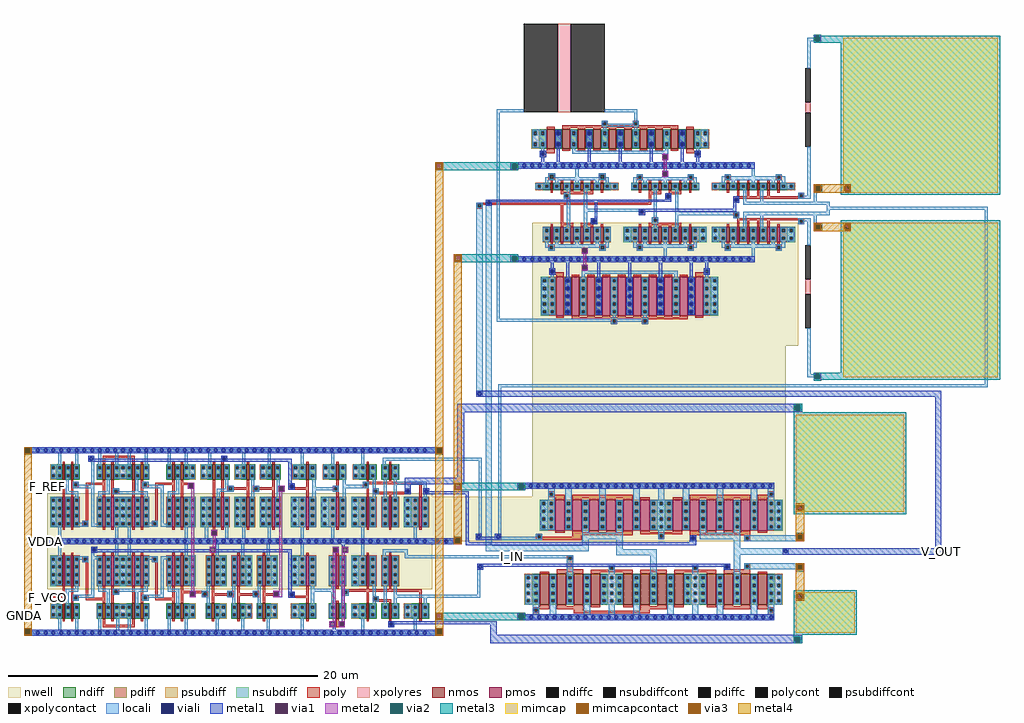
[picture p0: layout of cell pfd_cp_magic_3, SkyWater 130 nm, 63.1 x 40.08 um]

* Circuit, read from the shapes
.subckt pfd_cp_magic_3 V_OUT VDDA GNDA F_REF F_VCO I_IN
XM1 pfd_8_0/QB_b F_VCO GNDA GNDA sky130_fd_pr__nfet_01v8 w=1 l=0.15
XM2 pfd_8_0/QA_b F_REF GNDA GNDA sky130_fd_pr__nfet_01v8 w=1 l=0.15
XM3 GNDA pfd_8_0/QB pfd_8_0/QB_b GNDA sky130_fd_pr__nfet_01v8 w=1 l=0.15
XM4 GNDA pfd_8_0/QA pfd_8_0/QA_b GNDA sky130_fd_pr__nfet_01v8 w=1 l=0.15
XM5 pfd_8_0/QB pfd_8_0/QB_b GNDA GNDA sky130_fd_pr__nfet_01v8 w=1 l=0.15
XM6 pfd_8_0/QA pfd_8_0/QA_b GNDA GNDA sky130_fd_pr__nfet_01v8 w=1 l=0.15
XM7 GNDA pfd_8_0/F pfd_8_0/QB GNDA sky130_fd_pr__nfet_01v8 w=1 l=0.15
XM8 GNDA pfd_8_0/E pfd_8_0/QA GNDA sky130_fd_pr__nfet_01v8 w=1 l=0.15
XM9 pfd_8_0/F pfd_8_0/QB_b GNDA GNDA sky130_fd_pr__nfet_01v8 w=1 l=0.15
XM10 pfd_8_0/E pfd_8_0/QA_b GNDA GNDA sky130_fd_pr__nfet_01v8 w=1 l=0.15
XM11 GNDA pfd_8_0/F_b pfd_8_0/F GNDA sky130_fd_pr__nfet_01v8 w=1 l=0.15
XM12 GNDA pfd_8_0/E_b pfd_8_0/E GNDA sky130_fd_pr__nfet_01v8 w=1 l=0.15
XM13 pfd_8_0/F_b pfd_8_0/F GNDA GNDA sky130_fd_pr__nfet_01v8 w=1 l=0.15
XM14 pfd_8_0/E_b pfd_8_0/E GNDA GNDA sky130_fd_pr__nfet_01v8 w=1 l=0.15
XM15 GNDA pfd_8_0/Reset pfd_8_0/F_b GNDA sky130_fd_pr__nfet_01v8 w=1 l=0.15
XM16 GNDA pfd_8_0/Reset pfd_8_0/E_b GNDA sky130_fd_pr__nfet_01v8 w=1 l=0.15
XM17 GNDA n1 pfd_8_0/Reset GNDA sky130_fd_pr__nfet_01v8 w=1 l=0.15
XM18 n2 pfd_8_0/QB GNDA GNDA sky130_fd_pr__nfet_01v8 w=1 l=0.15
XM19 pfd_8_0/before_Reset pfd_8_0/QA n2 GNDA sky130_fd_pr__nfet_01v8 w=1 l=0.15
XM20 GNDA n3 n1 GNDA sky130_fd_pr__nfet_01v8 w=1 l=0.15
XM21 n4 pfd_8_0/before_Reset GNDA GNDA sky130_fd_pr__nfet_01v8 w=1 l=0.15
XM22 GNDA n5 n3 GNDA sky130_fd_pr__nfet_01v8 w=1 l=0.15
XM23 n5 n4 GNDA GNDA sky130_fd_pr__nfet_01v8 w=1 l=0.15
XM24 pfd_8_0/DOWN_PFD_b pfd_8_0/QB GNDA GNDA sky130_fd_pr__nfet_01v8 w=1 l=0.15
XM25 pfd_8_0/UP_PFD_b pfd_8_0/QA GNDA GNDA sky130_fd_pr__nfet_01v8 w=1 l=0.15
XM26 pfd_8_0/DOWN_b VDDA pfd_8_0/DOWN_PFD_b GNDA sky130_fd_pr__nfet_01v8 w=1 l=0.15
XM27 pfd_8_0/UP pfd_8_0/UP_PFD_b GNDA GNDA sky130_fd_pr__nfet_01v8 w=1 l=0.15
XM28 charge_pump_cell_6_0/DOWN pfd_8_0/DOWN_b GNDA GNDA sky130_fd_pr__nfet_01v8 w=1 l=0.15
XM29 charge_pump_cell_6_0/UP_b pfd_8_0/UP GNDA GNDA sky130_fd_pr__nfet_01v8 w=1 l=0.15
XM30 charge_pump_cell_6_0/DOWN_input charge_pump_cell_6_0/DOWN I_IN GNDA sky130_fd_pr__nfet_01v8 w=1 l=0.15
XM31 charge_pump_cell_6_0/UP_input pfd_8_0/UP opamp_cell_4_0/VOUT GNDA sky130_fd_pr__nfet_01v8 w=1 l=0.15
XM32 charge_pump_cell_6_0/DOWN_input pfd_8_0/DOWN_b GNDA GNDA sky130_fd_pr__nfet_01v8 w=1 l=0.15
XM33 GNDA GNDA GNDA GNDA sky130_fd_pr__nfet_01v8 w=2 l=0.6 m=6
XM34 GNDA GNDA GNDA GNDA sky130_fd_pr__nfet_01v8 w=1.25 l=0.5 m=2
XM35 GNDA GNDA GNDA GNDA sky130_fd_pr__nfet_01v8 w=0.5 l=0.15 m=4
XM36 I_IN I_IN GNDA GNDA sky130_fd_pr__nfet_01v8 w=2 l=0.6 m=2
XM37 n6 n6 GNDA GNDA sky130_fd_pr__nfet_01v8 w=0.5 l=0.15 m=2
XM38 n7 n8 GNDA GNDA sky130_fd_pr__nfet_01v8 w=1.25 l=0.5 m=4
XM39 n9 n6 GNDA GNDA sky130_fd_pr__nfet_01v8 w=0.5 l=0.15 m=2
XM40 n8 n8 GNDA GNDA sky130_fd_pr__nfet_01v8 w=1.25 l=0.5 m=4
XM41 n7 n7 n7 GNDA sky130_fd_pr__nfet_01v8 w=0.5 l=0.15 m=2
XM42 opamp_cell_4_0/VIN+ I_IN GNDA GNDA sky130_fd_pr__nfet_01v8 w=2 l=0.6 m=2
XM43 opamp_cell_4_0/n_left V_OUT n7 GNDA sky130_fd_pr__nfet_01v8 w=0.5 l=0.15 m=2
XM44 opamp_cell_4_0/n_right opamp_cell_4_0/VIN+ n7 GNDA sky130_fd_pr__nfet_01v8 w=0.5 l=0.15 m=2
XM45 V_OUT charge_pump_cell_6_0/DOWN_input GNDA GNDA sky130_fd_pr__nfet_01v8 w=2 l=0.6 m=2
XM46 opamp_cell_4_0/VOUT n9 GNDA GNDA sky130_fd_pr__nfet_01v8 w=0.5 l=0.15 m=4
XM47 n10 F_VCO VDDA VDDA sky130_fd_pr__pfet_01v8 w=2 l=0.15
XM48 n11 F_REF VDDA VDDA sky130_fd_pr__pfet_01v8 w=2 l=0.15
XM49 pfd_8_0/QB_b pfd_8_0/QB n10 VDDA sky130_fd_pr__pfet_01v8 w=2 l=0.15
XM50 pfd_8_0/QA_b pfd_8_0/QA n11 VDDA sky130_fd_pr__pfet_01v8 w=2 l=0.15
XM51 n12 pfd_8_0/QB_b pfd_8_0/QB VDDA sky130_fd_pr__pfet_01v8 w=2 l=0.15
XM52 n13 pfd_8_0/QA_b pfd_8_0/QA VDDA sky130_fd_pr__pfet_01v8 w=2 l=0.15
XM53 VDDA pfd_8_0/F n12 VDDA sky130_fd_pr__pfet_01v8 w=2 l=0.15
XM54 VDDA pfd_8_0/E n13 VDDA sky130_fd_pr__pfet_01v8 w=2 l=0.15
XM55 n14 pfd_8_0/QB_b VDDA VDDA sky130_fd_pr__pfet_01v8 w=2 l=0.15
XM56 n15 pfd_8_0/QA_b VDDA VDDA sky130_fd_pr__pfet_01v8 w=2 l=0.15
XM57 pfd_8_0/F pfd_8_0/F_b n14 VDDA sky130_fd_pr__pfet_01v8 w=2 l=0.15
XM58 pfd_8_0/E pfd_8_0/E_b n15 VDDA sky130_fd_pr__pfet_01v8 w=2 l=0.15
XM59 n16 pfd_8_0/F pfd_8_0/F_b VDDA sky130_fd_pr__pfet_01v8 w=2 l=0.15
XM60 n17 pfd_8_0/E pfd_8_0/E_b VDDA sky130_fd_pr__pfet_01v8 w=2 l=0.15
XM61 VDDA pfd_8_0/Reset n16 VDDA sky130_fd_pr__pfet_01v8 w=2 l=0.15
XM62 VDDA pfd_8_0/Reset n17 VDDA sky130_fd_pr__pfet_01v8 w=2 l=0.15
XM63 VDDA n1 pfd_8_0/Reset VDDA sky130_fd_pr__pfet_01v8 w=2 l=0.15
XM64 pfd_8_0/before_Reset pfd_8_0/QB VDDA VDDA sky130_fd_pr__pfet_01v8 w=2 l=0.15
XM65 VDDA pfd_8_0/QA pfd_8_0/before_Reset VDDA sky130_fd_pr__pfet_01v8 w=2 l=0.15
XM66 VDDA n3 n1 VDDA sky130_fd_pr__pfet_01v8 w=2 l=0.15
XM67 n4 pfd_8_0/before_Reset VDDA VDDA sky130_fd_pr__pfet_01v8 w=2 l=0.15
XM68 VDDA n5 n3 VDDA sky130_fd_pr__pfet_01v8 w=2 l=0.15
XM69 n5 n4 VDDA VDDA sky130_fd_pr__pfet_01v8 w=2 l=0.15
XM70 pfd_8_0/DOWN_PFD_b pfd_8_0/QB VDDA VDDA sky130_fd_pr__pfet_01v8 w=2 l=0.15
XM71 pfd_8_0/UP_PFD_b pfd_8_0/QA VDDA VDDA sky130_fd_pr__pfet_01v8 w=2 l=0.15
XM72 pfd_8_0/DOWN_b GNDA pfd_8_0/DOWN_PFD_b VDDA sky130_fd_pr__pfet_01v8 w=2 l=0.15
XM73 pfd_8_0/UP pfd_8_0/UP_PFD_b VDDA VDDA sky130_fd_pr__pfet_01v8 w=2 l=0.15
XM74 charge_pump_cell_6_0/DOWN pfd_8_0/DOWN_b VDDA VDDA sky130_fd_pr__pfet_01v8 w=2 l=0.15
XM75 charge_pump_cell_6_0/UP_b pfd_8_0/UP VDDA VDDA sky130_fd_pr__pfet_01v8 w=2 l=0.15
XM76 charge_pump_cell_6_0/DOWN_input pfd_8_0/DOWN_b I_IN VDDA sky130_fd_pr__pfet_01v8 w=2 l=0.15
XM77 charge_pump_cell_6_0/UP_input charge_pump_cell_6_0/UP_b opamp_cell_4_0/VOUT VDDA sky130_fd_pr__pfet_01v8 w=2 l=0.15
XM78 charge_pump_cell_6_0/UP_input pfd_8_0/UP VDDA VDDA sky130_fd_pr__pfet_01v8 w=2 l=0.15
XM79 n18 n18 n18 VDDA sky130_fd_pr__pfet_01v8 w=1 l=0.15 m=2
XM80 VDDA VDDA VDDA VDDA sky130_fd_pr__pfet_01v8 w=2 l=0.6 m=4
XM81 VDDA VDDA VDDA VDDA sky130_fd_pr__pfet_01v8 w=2.5 l=0.5 m=2
XM82 n6 V_OUT n18 VDDA sky130_fd_pr__pfet_01v8 w=1 l=0.15 m=2
XM83 n18 opamp_cell_4_0/p_bias VDDA VDDA sky130_fd_pr__pfet_01v8 w=2.5 l=0.5 m=4
XM84 opamp_cell_4_0/VIN+ opamp_cell_4_0/VOUT VDDA VDDA sky130_fd_pr__pfet_01v8 w=2 l=0.6 m=4
XM85 n9 opamp_cell_4_0/VIN+ n18 VDDA sky130_fd_pr__pfet_01v8 w=1 l=0.15 m=2
XM86 opamp_cell_4_0/p_bias opamp_cell_4_0/p_bias VDDA VDDA sky130_fd_pr__pfet_01v8 w=2.5 l=0.5 m=4
XM87 VDDA VDDA VDDA VDDA sky130_fd_pr__pfet_01v8 w=1 l=0.15 m=4
XM88 opamp_cell_4_0/n_left opamp_cell_4_0/n_left VDDA VDDA sky130_fd_pr__pfet_01v8 w=1 l=0.15 m=2
XM89 opamp_cell_4_0/n_right opamp_cell_4_0/n_left VDDA VDDA sky130_fd_pr__pfet_01v8 w=1 l=0.15 m=2
XM90 V_OUT charge_pump_cell_6_0/UP_input VDDA VDDA sky130_fd_pr__pfet_01v8 w=2 l=0.6 m=4
XM91 opamp_cell_4_0/VOUT opamp_cell_4_0/n_right VDDA VDDA sky130_fd_pr__pfet_01v8 w=1 l=0.15 m=4
XC92 charge_pump_cell_6_0/DOWN_input charge_pump_cell_6_0/DOWN sky130_fd_pr__cap_mim_m3_1 w=3.8 l=2.6
XC93 charge_pump_cell_6_0/UP_input charge_pump_cell_6_0/UP_b sky130_fd_pr__cap_mim_m3_1 w=7 l=6.3
XC94 opamp_cell_4_0/VOUT n19 sky130_fd_pr__cap_mim_m3_1 w=10 l=10
XC95 opamp_cell_4_0/VOUT n20 sky130_fd_pr__cap_mim_m3_1 w=10 l=10
XR96 n8 opamp_cell_4_0/p_bias GNDA sky130_fd_pr__res_xhigh_po w=5.73 l=0.84
XR97 opamp_cell_4_0/n_right n19 GNDA sky130_fd_pr__res_xhigh_po w=0.35 l=0.98
XR98 n20 n9 GNDA sky130_fd_pr__res_xhigh_po w=0.35 l=0.7
.ends

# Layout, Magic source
magic
tech sky130A
<< nwell >>
rect 3005 1875 4725 2070
rect 3005 900 4645 1875
rect 2340 610 3055 900
rect 3265 640 3325 655
<< poly >>
rect 2645 2790 3005 2800
rect 2645 2770 2655 2790
rect 2675 2785 3005 2790
rect 2675 2770 2685 2785
rect 2645 2760 2685 2770
rect -130 960 -90 975
rect 2180 945 2220 955
rect 2180 930 2190 945
rect 2090 925 2190 930
rect 2210 925 2220 945
rect 2090 915 2220 925
rect 3030 650 3070 660
rect 3030 630 3040 650
rect 3060 640 3070 650
rect 3265 640 3325 655
rect 3060 630 3325 640
rect 3030 620 3325 630
rect 4025 640 4065 650
rect 4025 620 4035 640
rect 4055 620 4065 640
rect 4025 610 4065 620
rect 4245 455 4285 465
rect 4245 435 4255 455
rect 4275 435 4285 455
rect 4245 425 4285 435
rect -130 245 -90 260
rect 2075 85 2115 95
rect 2075 65 2085 85
rect 2105 65 2115 85
rect 2075 55 2115 65
<< polycont >>
rect 2655 2770 2675 2790
rect 2190 925 2210 945
rect 3040 630 3060 650
rect 4035 620 4055 640
rect 4255 435 4275 455
rect 2085 65 2105 85
<< locali >>
rect 2865 3045 2915 3060
rect 2865 3025 2880 3045
rect 2900 3025 2915 3045
rect 2865 3010 2915 3025
rect 2705 2810 2745 2820
rect 2645 2790 2685 2800
rect 2645 2770 2655 2790
rect 2675 2770 2685 2790
rect 2645 1575 2685 2770
rect 2645 1555 2655 1575
rect 2675 1555 2685 1575
rect 2645 1545 2685 1555
rect 2705 2790 2715 2810
rect 2735 2790 2745 2810
rect 2380 1210 2430 1220
rect 2355 1190 2390 1210
rect 2380 1180 2390 1190
rect 2420 1180 2430 1210
rect 2380 1170 2430 1180
rect 2040 1130 2680 1150
rect 2040 1105 2060 1130
rect 2180 945 2220 955
rect 2180 925 2190 945
rect 2210 925 2220 945
rect 2180 915 2220 925
rect 2300 945 2340 955
rect 2300 925 2310 945
rect 2330 925 2340 945
rect 2300 915 2340 925
rect 2660 660 2680 1130
rect 2640 650 2680 660
rect 2500 625 2550 640
rect 2500 620 2515 625
rect 2355 600 2385 620
rect 2405 600 2440 620
rect 2460 605 2515 620
rect 2535 605 2550 625
rect 2640 630 2650 650
rect 2670 630 2680 650
rect 2640 620 2680 630
rect 2460 600 2550 605
rect 2500 590 2550 600
rect 2705 585 2745 2790
rect 4910 2755 5950 2775
rect 2865 2450 2915 2465
rect 2865 2430 2880 2450
rect 2900 2430 2915 2450
rect 2865 2415 2915 2430
rect 5930 1625 5950 2755
rect 2785 1605 5950 1625
rect 2785 660 2805 1605
rect 2910 975 2960 990
rect 2910 955 2925 975
rect 2945 955 2960 975
rect 2910 940 2960 955
rect 2765 650 2805 660
rect 2765 630 2775 650
rect 2795 640 2805 650
rect 3030 650 3070 660
rect 3030 640 3040 650
rect 2795 630 3040 640
rect 3060 630 3070 650
rect 2765 620 3070 630
rect 4025 640 4065 650
rect 3330 585 3370 625
rect 4025 620 4035 640
rect 4055 620 4065 640
rect 4025 610 4065 620
rect 2040 540 2200 560
rect 2705 545 3370 585
rect 4625 555 4665 565
rect 2040 505 2060 540
rect 2180 520 2200 540
rect 4625 535 4635 555
rect 4655 535 4665 555
rect 4625 525 4665 535
rect 2180 500 2900 520
rect 2650 455 2690 465
rect 2650 435 2660 455
rect 2680 435 2690 455
rect 2650 425 2690 435
rect 4245 455 4285 465
rect 4245 435 4255 455
rect 4275 435 4285 455
rect 4245 425 4285 435
rect 2650 265 2670 425
rect 2320 245 2670 265
rect 2910 135 2960 150
rect 2910 115 2925 135
rect 2945 115 2960 135
rect 2910 100 2960 115
rect 2075 85 2115 95
rect 2075 65 2085 85
rect 2105 65 2115 85
rect 2075 55 2115 65
rect 2380 40 2430 50
rect 2380 30 2390 40
rect 2355 10 2390 30
rect 2420 10 2430 40
rect 2380 0 2430 10
<< viali >>
rect 2880 3025 2900 3045
rect 2655 1555 2675 1575
rect 2715 2790 2735 2810
rect 2390 1180 2420 1210
rect 2190 925 2210 945
rect 2310 925 2330 945
rect 2385 600 2405 620
rect 2440 600 2460 620
rect 2515 605 2535 625
rect 2650 630 2670 650
rect 2880 2430 2900 2450
rect 2925 955 2945 975
rect 2775 630 2795 650
rect 4035 620 4055 640
rect 4635 535 4655 555
rect 2660 435 2680 455
rect 4255 435 4275 455
rect 2925 115 2945 135
rect 2085 65 2105 85
rect 2390 10 2420 40
<< metal1 >>
rect 2865 3050 2915 3060
rect 2865 3020 2875 3050
rect 2905 3020 2915 3050
rect 2865 3010 2915 3020
rect 2705 2810 3005 2820
rect 2705 2790 2715 2810
rect 2735 2805 3005 2810
rect 2735 2790 2745 2805
rect 2705 2780 2745 2790
rect 2865 2455 2915 2465
rect 2865 2425 2875 2455
rect 2905 2425 2915 2455
rect 2865 2415 2915 2425
rect 2645 1575 5650 1585
rect 2645 1555 2655 1575
rect 2675 1555 5650 1575
rect 2645 1545 5650 1555
rect 2520 1445 2910 1500
rect 2355 1210 2430 1220
rect 2355 1180 2390 1210
rect 2420 1180 2430 1210
rect 2380 1170 2430 1180
rect 2520 1020 2565 1445
rect 2180 980 2565 1020
rect 2910 980 2960 990
rect 2180 945 2220 980
rect 2180 925 2190 945
rect 2210 925 2220 945
rect 2180 915 2220 925
rect 2300 945 2340 955
rect 2300 925 2310 945
rect 2330 935 2340 945
rect 2910 950 2920 980
rect 2950 950 2960 980
rect 2910 940 2960 950
rect 2330 925 2595 935
rect 2300 915 2595 925
rect 2500 630 2550 640
rect -140 590 -115 630
rect 2355 620 2510 630
rect 2355 600 2385 620
rect 2405 600 2440 620
rect 2460 600 2510 620
rect 2540 600 2550 630
rect 2355 590 2550 600
rect 2575 605 2595 915
rect 2640 650 2680 660
rect 2640 630 2650 650
rect 2670 640 2680 650
rect 2765 650 2805 660
rect 2765 640 2775 650
rect 2670 630 2775 640
rect 2795 630 2805 650
rect 2640 620 2805 630
rect 4025 640 4065 650
rect 4025 620 4035 640
rect 4055 620 4065 640
rect 4025 605 4065 620
rect 2575 585 4065 605
rect 5610 565 5650 1545
rect 4625 555 5650 565
rect 4625 535 4635 555
rect 4655 535 5650 555
rect 4625 525 5650 535
rect 2650 455 4285 465
rect 2650 435 2660 455
rect 2680 445 4255 455
rect 2680 435 2690 445
rect 2650 425 2690 435
rect 4245 435 4255 445
rect 4275 435 4285 455
rect 4245 425 4285 435
rect 2910 140 2960 150
rect 2910 110 2920 140
rect 2950 110 2960 140
rect 2910 100 2960 110
rect 2075 85 2775 95
rect 2075 65 2085 85
rect 2105 75 2775 85
rect 2105 65 2115 75
rect 2075 55 2115 65
rect 2380 40 2430 50
rect 2355 10 2390 40
rect 2420 10 2430 40
rect 2355 0 2430 10
rect 2735 5 2775 75
rect 2735 -50 2910 5
<< via1 >>
rect 2875 3045 2905 3050
rect 2875 3025 2880 3045
rect 2880 3025 2900 3045
rect 2900 3025 2905 3045
rect 2875 3020 2905 3025
rect 2875 2450 2905 2455
rect 2875 2430 2880 2450
rect 2880 2430 2900 2450
rect 2900 2430 2905 2450
rect 2875 2425 2905 2430
rect 2390 1180 2420 1210
rect 2920 975 2950 980
rect 2920 955 2925 975
rect 2925 955 2945 975
rect 2945 955 2950 975
rect 2920 950 2950 955
rect 2510 625 2540 630
rect 2510 605 2515 625
rect 2515 605 2535 625
rect 2535 605 2540 625
rect 2510 600 2540 605
rect 2920 135 2950 140
rect 2920 115 2925 135
rect 2925 115 2945 135
rect 2945 115 2950 135
rect 2920 110 2950 115
rect 2390 10 2420 40
<< metal2 >>
rect 2865 3050 2915 3060
rect 2865 3020 2875 3050
rect 2905 3020 2915 3050
rect 2865 3010 2915 3020
rect 2865 2455 2915 2465
rect 2865 2425 2875 2455
rect 2905 2425 2915 2455
rect 2865 2415 2915 2425
rect 2380 1210 2430 1220
rect 2380 1180 2390 1210
rect 2420 1180 2430 1210
rect 2380 1170 2430 1180
rect 2910 980 2960 990
rect 2910 950 2920 980
rect 2950 950 2960 980
rect 2910 940 2960 950
rect 2500 630 2550 640
rect 2500 600 2510 630
rect 2540 600 2550 630
rect 2500 590 2550 600
rect 2910 140 2960 150
rect 2910 110 2920 140
rect 2950 110 2960 140
rect 2910 100 2960 110
rect 2380 40 2430 50
rect 2380 10 2390 40
rect 2420 10 2430 40
rect 2380 0 2430 10
<< via2 >>
rect 2875 3020 2905 3050
rect 2875 2425 2905 2455
rect 2390 1180 2420 1210
rect 2920 950 2950 980
rect 2510 600 2540 630
rect 2920 110 2950 140
rect 2390 10 2420 40
<< metal3 >>
rect 2380 3055 2915 3060
rect 2380 3015 2385 3055
rect 2425 3050 2915 3055
rect 2425 3020 2875 3050
rect 2905 3020 2915 3050
rect 2425 3015 2915 3020
rect 2380 3010 2915 3015
rect 2500 2460 2915 2465
rect 2500 2420 2505 2460
rect 2545 2455 2915 2460
rect 2545 2425 2875 2455
rect 2905 2425 2915 2455
rect 2545 2420 2915 2425
rect 2500 2415 2915 2420
rect 2380 1215 2430 1220
rect 2380 1175 2385 1215
rect 2425 1175 2430 1215
rect 2380 1170 2430 1175
rect 2500 985 2960 990
rect 2500 945 2505 985
rect 2545 980 2960 985
rect 2545 950 2920 980
rect 2950 950 2960 980
rect 2545 945 2960 950
rect 2500 940 2960 945
rect 2500 635 2550 640
rect 2500 595 2505 635
rect 2545 595 2550 635
rect 2500 590 2550 595
rect 2380 145 2960 150
rect 2380 105 2385 145
rect 2425 140 2960 145
rect 2425 110 2920 140
rect 2950 110 2960 140
rect 2425 105 2960 110
rect 2380 100 2960 105
rect 2380 45 2430 50
rect 2380 5 2385 45
rect 2425 5 2430 45
rect 2380 0 2430 5
<< via3 >>
rect 2385 3015 2425 3055
rect 2505 2420 2545 2460
rect 2385 1210 2425 1215
rect 2385 1180 2390 1210
rect 2390 1180 2420 1210
rect 2420 1180 2425 1210
rect 2385 1175 2425 1180
rect 2505 945 2545 985
rect 2505 630 2545 635
rect 2505 600 2510 630
rect 2510 600 2540 630
rect 2540 600 2545 630
rect 2505 595 2545 600
rect 2385 105 2425 145
rect 2385 40 2425 45
rect 2385 10 2390 40
rect 2390 10 2420 40
rect 2420 10 2425 40
rect 2385 5 2425 10
<< metal4 >>
rect 2380 3055 2430 3060
rect 2380 3015 2385 3055
rect 2425 3015 2430 3055
rect 2380 1215 2430 3015
rect 2380 1175 2385 1215
rect 2425 1175 2430 1215
rect -280 105 -230 155
rect 2380 145 2430 1175
rect 2500 2460 2550 2465
rect 2500 2420 2505 2460
rect 2545 2420 2550 2460
rect 2500 985 2550 2420
rect 2500 945 2505 985
rect 2545 945 2550 985
rect 2500 635 2550 945
rect 2500 595 2505 635
rect 2545 595 2550 635
rect 2500 590 2550 595
rect 2380 105 2385 145
rect 2425 105 2430 145
rect 2380 45 2430 105
rect 2380 5 2385 45
rect 2425 5 2430 45
rect 2380 0 2430 5
use charge_pump_cell_6  charge_pump_cell_6_0
transform 1 0 -6195 0 1 -1605
box 9095 1555 11740 3105
use opamp_cell_4  opamp_cell_4_0
transform 1 0 -335 0 -1 4855
box 3110 897 6365 3205
use pfd_8  pfd_8_0
transform 1 0 -930 0 1 4655
box 650 -4655 3290 -3435
<< labels >>
flabel locali 2880 510 2880 510 5 FreeSans 400 0 0 -200 I_IN
port 6 s
flabel metal1 -140 610 -140 610 7 FreeSans 400 0 -200 0 VDDA
port 2 w
flabel metal4 -280 130 -280 130 7 FreeSans 400 0 -200 0 GNDA
port 3 w
flabel poly -130 250 -130 250 7 FreeSans 400 0 -200 0 F_VCO
port 5 w
flabel poly -130 965 -130 965 7 FreeSans 400 0 -200 0 F_REF
port 4 w
flabel metal1 5650 545 5650 545 3 FreeSans 400 0 200 0 V_OUT
port 1 e
<< end >>

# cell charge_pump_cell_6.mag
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
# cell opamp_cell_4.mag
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
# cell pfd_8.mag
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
